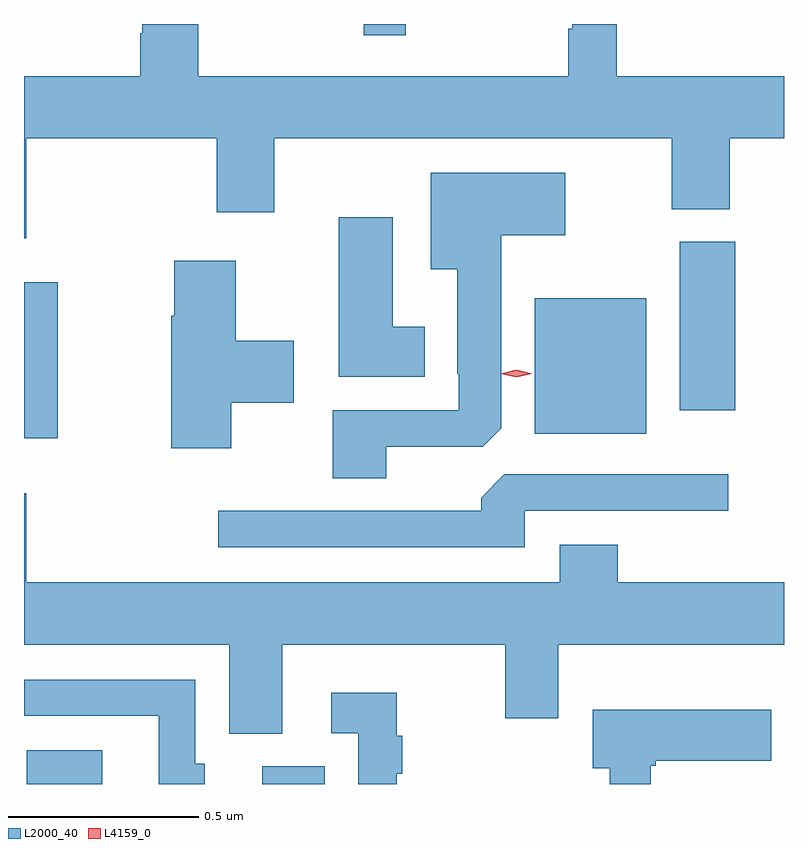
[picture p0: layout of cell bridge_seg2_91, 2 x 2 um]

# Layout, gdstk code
import gdstk
lib = gdstk.Library(unit=1e-6, precision=1e-09)
def R(c, l, rs):  # rectangles x0, y0, x1, y1
    for r in rs: c.add(gdstk.rectangle(r[:2], r[2:], *l))
def P(c, l, *ps):  # polygons
    for p in ps: c.add(gdstk.Polygon(p, *l))
L2000_40 = (2000, 40)
L4159_0 = (4159, 0)

bridge_seg2_91 = lib.new_cell('bridge_seg2_91')
R(bridge_seg2_91, L2000_40, [(322.362,661.921,322.561,662.01), (322.982,661.921,323.146,661.968), (322.355,662.831,322.444,663.241), (323.699,662.843,323.992,663.199), (324.08,662.904,324.227,663.348), (323.249,663.891,323.359,663.921)])
P(bridge_seg2_91, L2000_40, [(322.361,663.62),(322.862,663.62),(322.862,663.426),(323.014,663.426),(323.014,663.62),(324.059,663.62),(324.059,663.433),(324.212,663.433),(324.212,663.62),(324.355,663.62),(324.355,663.784),(323.915,663.784),(323.915,663.921),(323.798,663.921),(323.798,663.908),(323.787,663.908),(323.787,663.784),(322.813,663.784),(322.813,663.921),(322.666,663.921),(322.666,663.897),(322.661,663.897),(322.661,663.784),(322.355,663.784),(322.355,663.357),(322.361,663.357)],
  [(323.308,662.808),(323.562,662.808),(323.611,662.857),(323.611,663.365),(323.779,663.365),(323.779,663.529),(323.426,663.529),(323.426,663.275),(323.495,663.275),(323.495,663.001),(323.499,663.001),(323.499,662.904),(323.168,662.904),(323.168,662.725),(323.308,662.725)],
  [(323.41,663.124),(323.326,663.124),(323.326,663.412),(323.183,663.412),(323.183,662.993),(323.41,662.993)],
  [(322.9,662.924),(323.065,662.924),(323.065,663.087),(322.912,663.087),(322.912,663.298),(322.75,663.298),(322.75,663.153),(322.742,663.153),(322.742,662.805),(322.9,662.805)],
  [(323.673,662.64),(324.208,662.64),(324.208,662.736),(323.619,662.736),(323.558,662.674),(323.558,662.64),(322.866,662.64),(322.866,662.544),(323.673,662.544)],
  [(323.035,662.288),(323.621,662.288),(323.621,662.094),(323.761,662.094),(323.761,662.288),(324.355,662.288),(324.355,662.452),(323.918,662.452),(323.918,662.551),(323.765,662.551),(323.765,662.452),(322.361,662.452),(322.361,662.686),(322.355,662.686),(322.355,662.288),(322.895,662.288),(322.895,662.053),(323.035,662.053)],
  [(322.831,661.974),(322.806,661.974),(322.806,662.196),(322.355,662.196),(322.355,662.1),(322.709,662.1),(322.709,661.921),(322.831,661.921)],
  [(323.336,661.948),(323.351,661.948),(323.351,662.048),(323.336,662.048),(323.336,662.161),(323.163,662.161),(323.163,662.055),(323.235,662.055),(323.235,661.921),(323.336,661.921)],
  [(324.004,661.969),(324.018,661.969),(324.018,661.982),(324.322,661.982),(324.322,662.116),(323.852,662.116),(323.852,661.962),(323.897,661.962),(323.897,661.921),(324.004,661.921)])
P(bridge_seg2_91, L4159_0, [(323.651,662.991),(323.61,663.001),(323.61,663.001),(323.61,663.001),(323.651,663.011),(323.692,663.001),(323.692,663.001),(323.692,663.001)])

lib.write_gds('bridge_seg2_91.gds')
